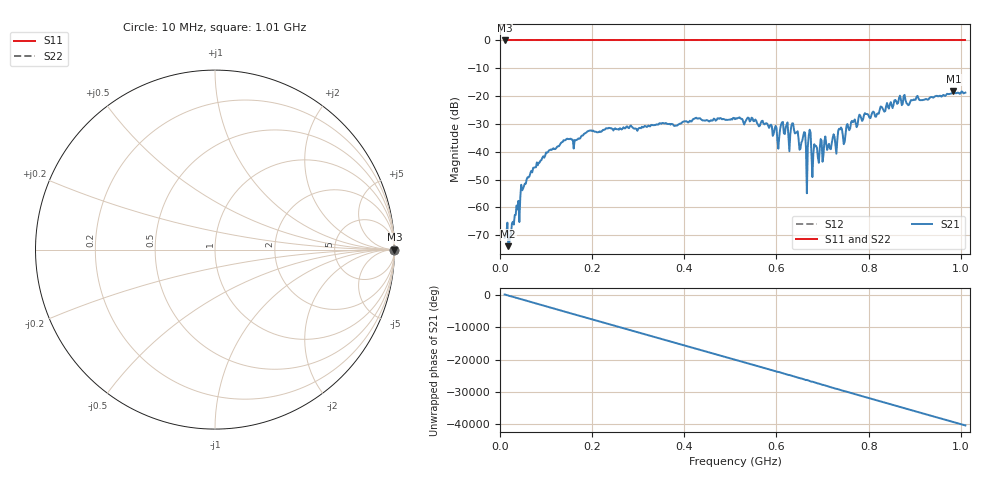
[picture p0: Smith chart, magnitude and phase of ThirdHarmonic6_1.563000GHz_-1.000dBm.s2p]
! 8/16/2025 6:34:36 PM
! C:\ANRITSUVNA\TEMP\TEMP.S2P
! CHANNEL.1
! TR.MEASUREMENT
! RAW.DATA
! RF.CORRECTION.OFF
! AVERAGING.OFF
! IF.BANDWIDTH: 5KHZ
! SWEEPTYPE:  FREQ.SWEEP(Linear)
! Reference Plane Port Info
! PORT:  PORT1  PORT2
! DISTANCE:  0  m  0  m
! TIME:  0  s  0  s
! PHASE.OFFSET:  0  deg.  0  deg.
! LOSS:  0  dB  0  dB
! REF.LOSS:  0  dB  0  dB
! REF.FREQ:  0  Hz  0  Hz
! Power Info
! POWER:  -20  dBm  -20  dBm
! EFF.POWER:  -20  dBm  -20  dBm
! SOURCE.ATTEN:  0  dB  0  dB
! TEST.ATTEN:  0  dB  0  dB
# GHZ S RI R 50.0
! FREQ.GHZ  S11RE  S11IM  S21RE  S21IM  S12RE  S12IM  S22RE  S22IM
!; PortSelection: Port_12
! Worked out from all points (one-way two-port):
!   501 points, 10 MHz to 1.01 GHz, reference 50 ohm
!   highest |S21| = -18.25 dB at 984 MHz (marker M1); lowest = -73.9 dB at 18 MHz (marker M2)
!   lowest |S11| = 0.0 dB at 10 MHz (marker M3)
!   |S11| at or under -10 dB: nowhere
!   |S22| runs from 0.0 to 0.0 dB; largest |S21 - S12| = 1.1
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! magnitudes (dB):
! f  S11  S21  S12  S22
! 10 MHz  0.0  -70.9  0.0  0.0
! 18 MHz  0.0  -73.9  0.0  0.0
! 22 MHz  0.0  -70.1  0.0  0.0
! 50 MHz  0.0  -53.3  0.0  0.0
! 76 MHz  0.0  -45.6  0.0  0.0
! 142 MHz  0.0  -35.8  0.0  0.0
! 178 MHz  0.0  -34.2  0.0  0.0
! 344 MHz  0.0  -30.2  0.0  0.0
! 510 MHz  0.0  -28.3  0.0  0.0
! 572 MHz  0.0  -29.9  0.0  0.0
! 604 MHz  0.0  -38.9  0.0  0.0
! 612 MHz  0.0  -29.4  0.0  0.0
! 630 MHz  0.0  -33.8  0.0  0.0
! 636 MHz  0.0  -29.8  0.0  0.0
! 652 MHz  0.0  -38.9  0.0  0.0
! 660 MHz  0.0  -32.9  0.0  0.0
! 666 MHz  0.0  -54.9  0.0  0.0
! 672 MHz  0.0  -32.1  0.0  0.0
! 678 MHz  0.0  -49.1  0.0  0.0
! 844 MHz  0.0  -24.5  0.0  0.0
! 984 MHz  0.0  -18.3  0.0  0.0
! 1.01 GHz  0.0  -18.8  0.0  0.0
